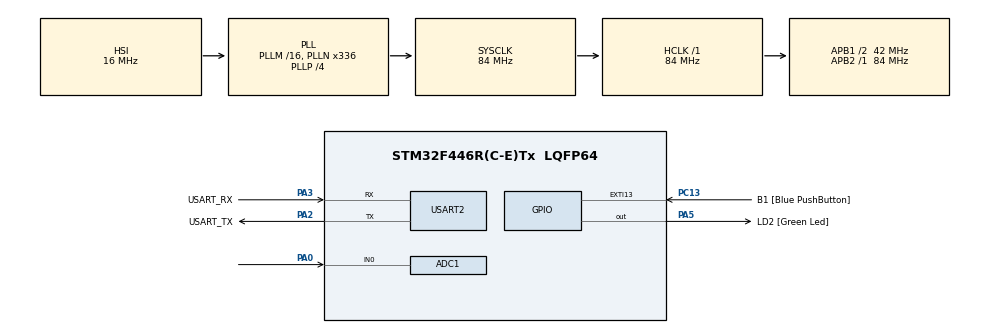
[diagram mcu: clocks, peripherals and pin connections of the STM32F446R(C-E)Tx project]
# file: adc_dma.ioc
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ADC1.Channel-5\#ChannelRegularConversion=ADC_CHANNEL_0
ADC1.ExternalTrigConv=ADC_EXTERNALTRIGCONV_T3_TRGO
ADC1.InjNumberOfConversion=0
ADC1.NbrOfConversionFlag=1
ADC1.Rank-5\#ChannelRegularConversion=1
ADC1.SamplingTime-5\#ChannelRegularConversion=ADC_SAMPLETIME_3CYCLES
ADC1.master=1
Dma.ADC1.0.Direction=DMA_PERIPH_TO_MEMORY
Dma.ADC1.0.FIFOMode=DMA_FIFOMODE_DISABLE
Dma.ADC1.0.Instance=DMA2_Stream0
Dma.ADC1.0.MemDataAlignment=DMA_MDATAALIGN_HALFWORD
Dma.ADC1.0.MemInc=DMA_MINC_ENABLE
Dma.ADC1.0.Mode=DMA_NORMAL
Dma.ADC1.0.PeriphDataAlignment=DMA_PDATAALIGN_HALFWORD
Dma.ADC1.0.PeriphInc=DMA_PINC_DISABLE
Dma.ADC1.0.Priority=DMA_PRIORITY_LOW
Dma.Request0=ADC1
Mcu.Family=STM32F4
Mcu.Name=STM32F446R(C-E)Tx
Mcu.Package=LQFP64
NVIC.DMA2_Stream0_IRQn=true\:0\:0\:false\:false\:true\:false\:true\:true
NVIC.PriorityGroup=NVIC_PRIORITYGROUP_0
PA0-WKUP.Signal=ADCx_IN0
PA13.GPIO_Label=TMS
PA13.Mode=Serial_Wire
PA13.Signal=SYS_JTMS-SWDIO
PA14.GPIO_Label=TCK
PA14.Mode=Serial_Wire
PA14.Signal=SYS_JTCK-SWCLK
PA2.GPIO_Label=USART_TX
PA2.Mode=Asynchronous
PA2.Signal=USART2_TX
PA3.GPIO_Label=USART_RX
PA3.Mode=Asynchronous
PA3.Signal=USART2_RX
PA5.GPIO_Label=LD2 [Green Led]
PA5.Signal=GPIO_Output
PB3.GPIO_Label=SWO
PB3.Signal=SYS_JTDO-SWO
PC13.GPIO_Label=B1 [Blue PushButton]
PC13.GPIO_ModeDefaultEXTI=GPIO_MODE_IT_FALLING
PC13.Signal=GPXTI13
PC14-OSC32_IN.Mode=LSE-External-Oscillator
PC14-OSC32_IN.Signal=RCC_OSC32_IN
PC15-OSC32_OUT.Mode=LSE-External-Oscillator
PC15-OSC32_OUT.Signal=RCC_OSC32_OUT
PH0-OSC_IN.Mode=HSE-External-Oscillator
PH0-OSC_IN.Signal=RCC_OSC_IN
PH1-OSC_OUT.Mode=HSE-External-Oscillator
PH1-OSC_OUT.Signal=RCC_OSC_OUT
ProjectManager.HeapSize=0x200
ProjectManager.StackSize=0x400
ProjectManager.TargetToolchain=STM32CubeIDE
RCC.48MHZClocksFreq_Value=84000000
RCC.AHBFreq_Value=84000000
RCC.APB1CLKDivider=RCC_HCLK_DIV2
RCC.APB1Freq_Value=42000000
RCC.APB1TimFreq_Value=84000000
RCC.APB2Freq_Value=84000000
RCC.APB2TimFreq_Value=84000000
RCC.CortexFreq_Value=84000000
RCC.FLatency-AdvancedSettings=FLASH_LATENCY_2
RCC.HCLKFreq_Value=84000000
RCC.HSE_VALUE=8000000
RCC.HSI_VALUE=16000000
RCC.PLLN=336
RCC.PLLP=RCC_PLLP_DIV4
RCC.SYSCLKFreq_VALUE=84000000
RCC.SYSCLKSource=RCC_SYSCLKSOURCE_PLLCLK
RCC.USBFreq_Value=168000000
RCC.VCOOutputFreq_Value=336000000
SH.ADCx_IN0.0=ADC1_IN0,IN0
TIM2.Prescaler=840-1
TIM3.Period=100-1
TIM3.Prescaler=840-1
TIM3.TIM_MasterOutputTrigger=TIM_TRGO_UPDATE
USART2.VirtualMode=VM_ASYNC
VP_TIM2_VS_ClockSourceINT.Mode=Internal
VP_TIM3_VS_ClockSourceINT.Mode=Internal
board=NUCLEO-F446RE

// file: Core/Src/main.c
/* USER CODE BEGIN Header */
/**
  ******************************************************************************
  * @file           : main.c
  * @brief          : Main program body
  ******************************************************************************
  * @attention
  *
  * Copyright (c) 2024 STMicroelectronics.
  * All rights reserved.
  *
  * This software is licensed under terms that can be found in the LICENSE file
  * in the root directory of this software component.
  * If no LICENSE file comes with this software, it is provided AS-IS.
  *
  ******************************************************************************
  */
/* USER CODE END Header */
#include "main.h"

/* USER CODE BEGIN PD */
#define buffer_size 256
#define sample_scalar (3.3 / (float)(0x1 << 12))

/* USER CODE END PD */

ADC_HandleTypeDef hadc1;
DMA_HandleTypeDef hdma_adc1;

TIM_HandleTypeDef htim2;
TIM_HandleTypeDef htim3;

UART_HandleTypeDef huart2;

/* USER CODE BEGIN PV */
static uint32_t sample_count = 0;
static uint16_t adc_buffer[buffer_size];
static uint32_t start_time;
static uint32_t end_time;
static int32_t duration;

static uint16_t min_sample;
static uint16_t max_sample;
static uint32_t sample_sum;
static uint32_t avg_sample;

static float min_voltage;
static float max_voltage;
static float avg_voltage;

/* USER CODE END PV */

void SystemClock_Config(void);
static void MX_GPIO_Init(void);
static void MX_DMA_Init(void);
static void MX_USART2_UART_Init(void);
static void MX_ADC1_Init(void);
static void MX_TIM2_Init(void);
static void MX_TIM3_Init(void);

int main(void)
{

  /* MCU Configuration--------------------------------------------------------*/

  /* Reset of all peripherals, Initializes the Flash interface and the Systick. */
  HAL_Init();

  /* Configure the system clock */
  SystemClock_Config();

  /* Initialize all configured peripherals */
  MX_GPIO_Init();
  MX_DMA_Init();
  MX_USART2_UART_Init();
  MX_ADC1_Init();
  MX_TIM2_Init();
  MX_TIM3_Init();
  /* USER CODE BEGIN 2 */
  HAL_TIM_Base_Start(&htim2);
  HAL_TIM_Base_Start(&htim3);
  start_time = __HAL_TIM_GetCounter(&htim2);
  HAL_ADC_Start_DMA(&hadc1, (uint32_t *)adc_buffer, buffer_size);

  /* USER CODE END 2 */

  /* Infinite loop */
  while (1)
  {

  }
}

void SystemClock_Config(void)
{
  RCC_OscInitTypeDef RCC_OscInitStruct = {0};
  RCC_ClkInitTypeDef RCC_ClkInitStruct = {0};

  /** Configure the main internal regulator output voltage
  */
  __HAL_RCC_PWR_CLK_ENABLE();
  __HAL_PWR_VOLTAGESCALING_CONFIG(PWR_REGULATOR_VOLTAGE_SCALE3);

  /** Initializes the RCC Oscillators according to the specified parameters
  * in the RCC_OscInitTypeDef structure.
  */
  RCC_OscInitStruct.OscillatorType = RCC_OSCILLATORTYPE_HSI;
  RCC_OscInitStruct.HSIState = RCC_HSI_ON;
  RCC_OscInitStruct.HSICalibrationValue = RCC_HSICALIBRATION_DEFAULT;
  RCC_OscInitStruct.PLL.PLLState = RCC_PLL_ON;
  RCC_OscInitStruct.PLL.PLLSource = RCC_PLLSOURCE_HSI;
  RCC_OscInitStruct.PLL.PLLM = 16;
  RCC_OscInitStruct.PLL.PLLN = 336;
  RCC_OscInitStruct.PLL.PLLP = RCC_PLLP_DIV4;
  RCC_OscInitStruct.PLL.PLLQ = 2;
  RCC_OscInitStruct.PLL.PLLR = 2;
  if (HAL_RCC_OscConfig(&RCC_OscInitStruct) != HAL_OK)
  {
    Error_Handler();
  }

  /** Initializes the CPU, AHB and APB buses clocks
  */
  RCC_ClkInitStruct.ClockType = RCC_CLOCKTYPE_HCLK|RCC_CLOCKTYPE_SYSCLK
                              |RCC_CLOCKTYPE_PCLK1|RCC_CLOCKTYPE_PCLK2;
  RCC_ClkInitStruct.SYSCLKSource = RCC_SYSCLKSOURCE_PLLCLK;
  RCC_ClkInitStruct.AHBCLKDivider = RCC_SYSCLK_DIV1;
  RCC_ClkInitStruct.APB1CLKDivider = RCC_HCLK_DIV2;
  RCC_ClkInitStruct.APB2CLKDivider = RCC_HCLK_DIV1;

  if (HAL_RCC_ClockConfig(&RCC_ClkInitStruct, FLASH_LATENCY_2) != HAL_OK)
  {
    Error_Handler();
  }
}

static void MX_ADC1_Init(void)
{

  ADC_ChannelConfTypeDef sConfig = {0};

  /** Configure the global features of the ADC (Clock, Resolution, Data Alignment and number of conversion)
  */
  hadc1.Instance = ADC1;
  hadc1.Init.ClockPrescaler = ADC_CLOCK_SYNC_PCLK_DIV4;
  hadc1.Init.Resolution = ADC_RESOLUTION_12B;
  hadc1.Init.ScanConvMode = DISABLE;
  hadc1.Init.ContinuousConvMode = DISABLE;
  hadc1.Init.DiscontinuousConvMode = DISABLE;
  hadc1.Init.ExternalTrigConvEdge = ADC_EXTERNALTRIGCONVEDGE_RISING;
  hadc1.Init.ExternalTrigConv = ADC_EXTERNALTRIGCONV_T3_TRGO;
  hadc1.Init.DataAlign = ADC_DATAALIGN_RIGHT;
  hadc1.Init.NbrOfConversion = 1;
  hadc1.Init.DMAContinuousRequests = DISABLE;
  hadc1.Init.EOCSelection = ADC_EOC_SINGLE_CONV;
  if (HAL_ADC_Init(&hadc1) != HAL_OK)
  {
    Error_Handler();
  }

  /** Configure for the selected ADC regular channel its corresponding rank in the sequencer and its sample time.
  */
  sConfig.Channel = ADC_CHANNEL_0;
  sConfig.Rank = 1;
  sConfig.SamplingTime = ADC_SAMPLETIME_3CYCLES;
  if (HAL_ADC_ConfigChannel(&hadc1, &sConfig) != HAL_OK)
  {
    Error_Handler();
  }

}

static void MX_TIM2_Init(void)
{

  TIM_ClockConfigTypeDef sClockSourceConfig = {0};
  TIM_MasterConfigTypeDef sMasterConfig = {0};

  htim2.Instance = TIM2;
  htim2.Init.Prescaler = 840-1;
  htim2.Init.CounterMode = TIM_COUNTERMODE_UP;
  htim2.Init.Period = 4294967295;
  htim2.Init.ClockDivision = TIM_CLOCKDIVISION_DIV1;
  htim2.Init.AutoReloadPreload = TIM_AUTORELOAD_PRELOAD_DISABLE;
  if (HAL_TIM_Base_Init(&htim2) != HAL_OK)
  {
    Error_Handler();
  }
  sClockSourceConfig.ClockSource = TIM_CLOCKSOURCE_INTERNAL;
  if (HAL_TIM_ConfigClockSource(&htim2, &sClockSourceConfig) != HAL_OK)
  {
    Error_Handler();
  }
  sMasterConfig.MasterOutputTrigger = TIM_TRGO_RESET;
  sMasterConfig.MasterSlaveMode = TIM_MASTERSLAVEMODE_DISABLE;
  if (HAL_TIMEx_MasterConfigSynchronization(&htim2, &sMasterConfig) != HAL_OK)
  {
    Error_Handler();
  }

}

static void MX_TIM3_Init(void)
{

  TIM_ClockConfigTypeDef sClockSourceConfig = {0};
  TIM_MasterConfigTypeDef sMasterConfig = {0};

  htim3.Instance = TIM3;
  htim3.Init.Prescaler = 840-1;
  htim3.Init.CounterMode = TIM_COUNTERMODE_UP;
  htim3.Init.Period = 100-1;
  htim3.Init.ClockDivision = TIM_CLOCKDIVISION_DIV1;
  htim3.Init.AutoReloadPreload = TIM_AUTORELOAD_PRELOAD_DISABLE;
  if (HAL_TIM_Base_Init(&htim3) != HAL_OK)
  {
    Error_Handler();
  }
  sClockSourceConfig.ClockSource = TIM_CLOCKSOURCE_INTERNAL;
  if (HAL_TIM_ConfigClockSource(&htim3, &sClockSourceConfig) != HAL_OK)
  {
    Error_Handler();
  }
  sMasterConfig.MasterOutputTrigger = TIM_TRGO_UPDATE;
  sMasterConfig.MasterSlaveMode = TIM_MASTERSLAVEMODE_DISABLE;
  if (HAL_TIMEx_MasterConfigSynchronization(&htim3, &sMasterConfig) != HAL_OK)
  {
    Error_Handler();
  }

}

static void MX_USART2_UART_Init(void)
{

  huart2.Instance = USART2;
  huart2.Init.BaudRate = 115200;
  huart2.Init.WordLength = UART_WORDLENGTH_8B;
  huart2.Init.StopBits = UART_STOPBITS_1;
  huart2.Init.Parity = UART_PARITY_NONE;
  huart2.Init.Mode = UART_MODE_TX_RX;
  huart2.Init.HwFlowCtl = UART_HWCONTROL_NONE;
  huart2.Init.OverSampling = UART_OVERSAMPLING_16;
  if (HAL_UART_Init(&huart2) != HAL_OK)
  {
    Error_Handler();
  }

}

static void MX_DMA_Init(void)
{

  /* DMA controller clock enable */
  __HAL_RCC_DMA2_CLK_ENABLE();

  /* DMA interrupt init */
  /* DMA2_Stream0_IRQn interrupt configuration */
  HAL_NVIC_SetPriority(DMA2_Stream0_IRQn, 0, 0);
  HAL_NVIC_EnableIRQ(DMA2_Stream0_IRQn);

}

static void MX_GPIO_Init(void)
{
  GPIO_InitTypeDef GPIO_InitStruct = {0};

  /* GPIO Ports Clock Enable */
  __HAL_RCC_GPIOC_CLK_ENABLE();
  __HAL_RCC_GPIOH_CLK_ENABLE();
  __HAL_RCC_GPIOA_CLK_ENABLE();
  __HAL_RCC_GPIOB_CLK_ENABLE();

  /*Configure GPIO pin Output Level */
  HAL_GPIO_WritePin(LD2_GPIO_Port, LD2_Pin, GPIO_PIN_RESET);

  /*Configure GPIO pin : B1_Pin */
  GPIO_InitStruct.Pin = B1_Pin;
  GPIO_InitStruct.Mode = GPIO_MODE_IT_FALLING;
  GPIO_InitStruct.Pull = GPIO_NOPULL;
  HAL_GPIO_Init(B1_GPIO_Port, &GPIO_InitStruct);

  /*Configure GPIO pin : LD2_Pin */
  GPIO_InitStruct.Pin = LD2_Pin;
  GPIO_InitStruct.Mode = GPIO_MODE_OUTPUT_PP;
  GPIO_InitStruct.Pull = GPIO_NOPULL;
  GPIO_InitStruct.Speed = GPIO_SPEED_FREQ_LOW;
  HAL_GPIO_Init(LD2_GPIO_Port, &GPIO_InitStruct);

}

/* USER CODE BEGIN 4 */
void HAL_ADC_ConvHalfCpltCallback(ADC_HandleTypeDef *hadc) {
	return;
}

void HAL_ADC_ConvCpltCallback(ADC_HandleTypeDef *hadc) {
	end_time = __HAL_TIM_GetCounter(&htim2);
	duration = end_time - start_time;
	min_sample = adc_buffer[0];
	max_sample = adc_buffer[0];
	sample_sum = 0;
	for (int i = 0; i < buffer_size; i++) {
		sample_sum += adc_buffer[i];
		if (adc_buffer[i] < min_sample) {
			min_sample = adc_buffer[i];
		}
		if (adc_buffer[i] > max_sample) {
			max_sample = adc_buffer[i];
		}
	}
	avg_sample = sample_sum / buffer_size;
	min_voltage = min_sample * sample_scalar;
	max_voltage = max_sample * sample_scalar;
	avg_voltage = avg_sample * sample_scalar;
	sample_count = sample_count + 1;
	start_time = __HAL_TIM_GetCounter(&htim2);
	HAL_ADC_Start_DMA(&hadc1, (uint32_t *)adc_buffer, buffer_size);
	return;
}

/* USER CODE END 4 */

void Error_Handler(void)
{
  __disable_irq();
  while (1)
  {
  }
}
